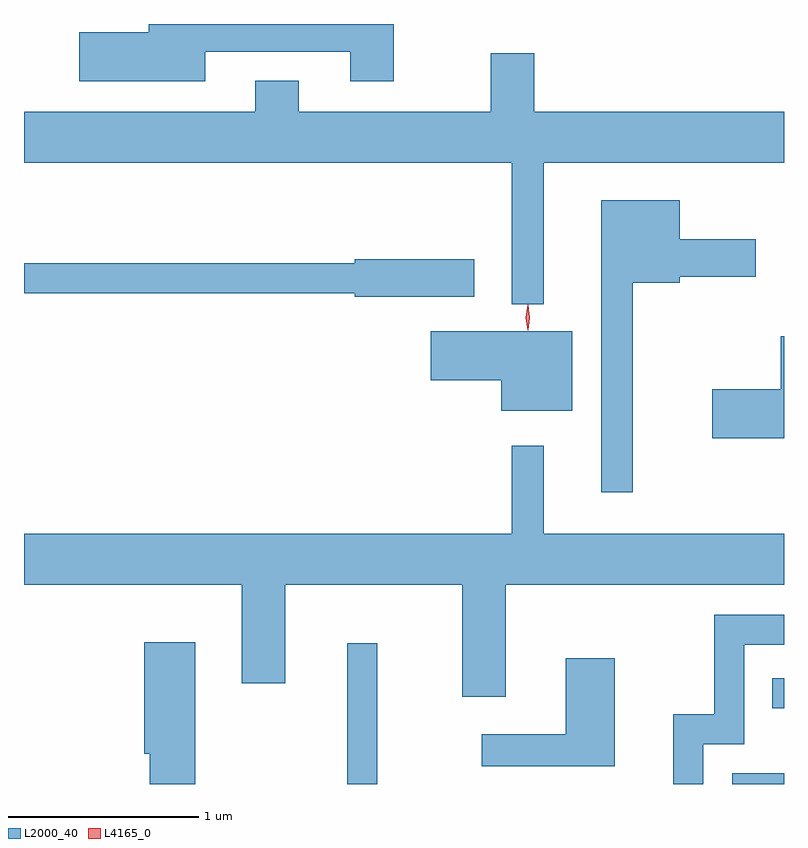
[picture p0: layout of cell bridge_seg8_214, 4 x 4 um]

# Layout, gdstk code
import gdstk
lib = gdstk.Library(unit=1e-6, precision=1e-09)
def R(c, l, rs):  # rectangles x0, y0, x1, y1
    for r in rs: c.add(gdstk.rectangle(r[:2], r[2:], *l))
def P(c, l, *ps):  # polygons
    for p in ps: c.add(gdstk.Polygon(p, *l))
L2000_40 = (2000, 40)
L4165_0 = (4165, 0)

bridge_seg8_214 = lib.new_cell('bridge_seg8_214')
R(bridge_seg8_214, L2000_40, [(1089.906,1933.047,1090.064,1933.788), (1091.931,1933.047,1092.204,1933.104), (1092.143,1933.446,1092.204,1933.604)])
P(bridge_seg8_214, L2000_40, [(1089.159,1936.901),(1089.921,1936.901),(1089.921,1936.746),(1090.149,1936.746),(1090.149,1937.047),(1088.861,1937.047),(1088.861,1937.004),(1088.496,1937.004),(1088.496,1936.746),(1089.159,1936.746)],
  [(1090.939,1936.316),(1092.204,1936.316),(1092.204,1936.584),(1090.889,1936.584),(1090.889,1936.894),(1090.661,1936.894),(1090.661,1936.584),(1089.649,1936.584),(1089.649,1936.749),(1089.421,1936.749),(1089.421,1936.584),(1088.204,1936.584),(1088.204,1936.316),(1090.771,1936.316),(1090.771,1935.573),(1090.939,1935.573)],
  [(1091.409,1935.686),(1091.654,1935.686),(1091.654,1935.716),(1092.054,1935.716),(1092.054,1935.914),(1091.654,1935.914),(1091.654,1936.119),(1091.241,1936.119),(1091.241,1934.583),(1091.409,1934.583)],
  [(1090.574,1935.809),(1089.946,1935.809),(1089.946,1935.789),(1088.204,1935.789),(1088.204,1935.631),(1089.946,1935.631),(1089.946,1935.611),(1090.574,1935.611)],
  [(1091.089,1935.429),(1090.346,1935.429),(1090.346,1935.171),(1090.716,1935.171),(1090.716,1935.011),(1091.089,1935.011)],
  [(1092.204,1935.404),(1092.186,1935.404),(1092.186,1935.124),(1091.826,1935.124),(1091.826,1934.866),(1092.204,1934.866)],
  [(1090.739,1934.096),(1092.204,1934.096),(1092.204,1934.364),(1090.939,1934.364),(1090.939,1934.828),(1090.771,1934.828),(1090.771,1934.364),(1088.204,1934.364),(1088.204,1934.096),(1089.351,1934.096),(1089.351,1933.576),(1089.579,1933.576),(1089.579,1934.096),(1090.511,1934.096),(1090.511,1933.506),(1090.739,1933.506)],
  [(1091.779,1933.256),(1091.994,1933.256),(1091.994,1933.781),(1092.204,1933.781),(1092.204,1933.939),(1091.836,1933.939),(1091.836,1933.414),(1091.621,1933.414),(1091.621,1933.047),(1091.779,1933.047)],
  [(1089.104,1933.794),(1088.836,1933.794),(1088.836,1933.206),(1088.866,1933.206),(1088.866,1933.047),(1089.104,1933.047)],
  [(1091.314,1933.709),(1091.056,1933.709),(1091.056,1933.309),(1090.613,1933.309),(1090.613,1933.141),(1091.314,1933.141)])
P(bridge_seg8_214, L4165_0, [(1090.857,1935.44),(1090.856,1935.441),(1090.847,1935.504),(1090.856,1935.566),(1090.856,1935.567),(1090.857,1935.566),(1090.866,1935.504),(1090.858,1935.441)],
  [(1090.856,1935.434),(1090.846,1935.502),(1090.856,1935.57),(1090.856,1935.57),(1090.857,1935.57),(1090.866,1935.502),(1090.857,1935.434),(1090.857,1935.434)])

lib.write_gds('bridge_seg8_214.gds')
